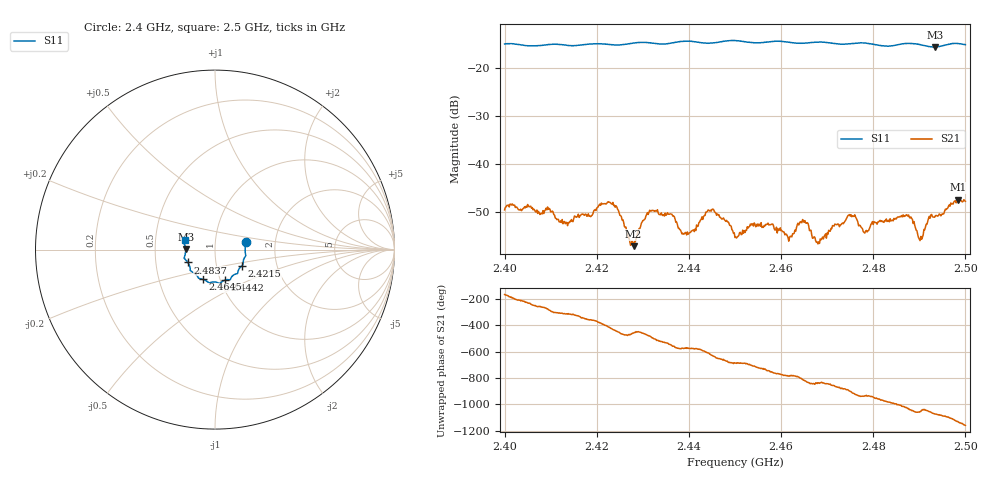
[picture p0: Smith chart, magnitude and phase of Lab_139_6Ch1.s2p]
# Hz S RI R 50
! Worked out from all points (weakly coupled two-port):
!   601 points, 2.4 GHz to 2.5 GHz, reference 50 ohm
!   highest |S21| = -47.36 dB at 2.4985 GHz (marker M1); lowest = -57.0 dB at 2.428 GHz (marker M2)
!   lowest |S11| = -15.7 dB at 2.4933 GHz (marker M3), VSWR 1.39, Z = 35.9 + j0.0945 ohm
!   |S11| at or under -10 dB: start of sweep to end of sweep
!   S12 and S22 are empty: the file has one direction only
!   S11 on the Smith chart (normalised r, x): 2.4 GHz: 1.41, +0.12; 2.4215 GHz: 1.33, -0.25; 2.4442 GHz: 1.05, -0.37; 2.4645 GHz: 0.83, -0.29; 2.4837 GHz: 0.73, -0.11; 2.5 GHz: 0.71, +0.07
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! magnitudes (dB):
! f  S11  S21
! 2.4 GHz  -15.1  -49.5
! 2.4167 GHz  -15.3  -50.4
! 2.4215 GHz  -15.1  -48.2
! 2.424 GHz  -15.3  -48.9
! 2.428 GHz  -14.9  -57.0
! 2.4312 GHz  -14.8  -50.4
! 2.4333 GHz  -15.1  -50.1
! 2.439 GHz  -14.5  -54.5
! 2.4442 GHz  -15.0  -49.5
! 2.45 GHz  -14.4  -55.2
! 2.4577 GHz  -14.6  -52.6
! 2.4618 GHz  -14.8  -55.2
! 2.4645 GHz  -15.0  -52.2
! 2.4667 GHz  -14.8  -54.8
! 2.475 GHz  -15.1  -50.8
! 2.4833 GHz  -15.6  -51.7
! 2.4837 GHz  -15.5  -51.3
! 2.4877 GHz  -15.0  -50.6
! 2.4903 GHz  -15.3  -55.0
! 2.4933 GHz  -15.7  -51.0
! 2.4985 GHz  -15.0  -47.4
! 2.5 GHz  -15.2  -47.7
